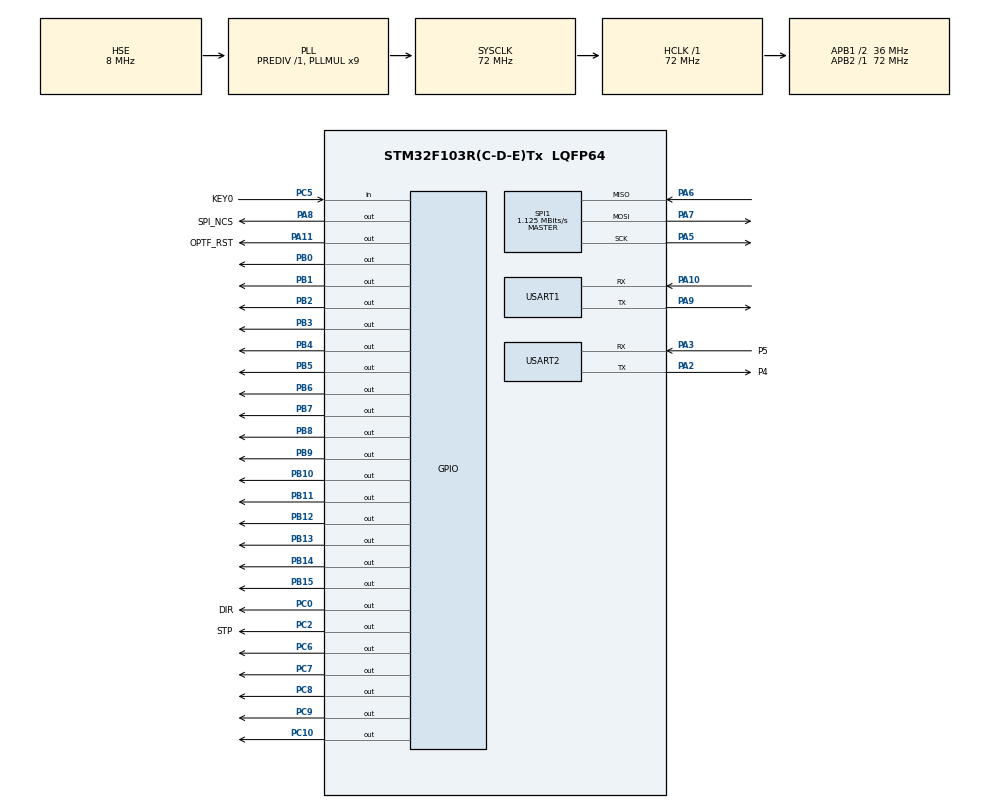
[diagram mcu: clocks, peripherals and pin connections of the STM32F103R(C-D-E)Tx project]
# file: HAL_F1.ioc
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Mcu.Family=STM32F1
Mcu.Name=STM32F103R(C-D-E)Tx
Mcu.Package=LQFP64
NVIC.PriorityGroup=NVIC_PRIORITYGROUP_4
NVIC.USART2_IRQn=true\:0\:0\:false\:false\:true\:true\:true
PA10.Mode=Asynchronous
PA10.Signal=USART1_RX
PA11.GPIO_Label=OPTF_RST
PA11.GPIO_PuPd=GPIO_PULLDOWN
PA11.Signal=GPIO_Output
PA2.GPIO_Label=P4
PA2.Mode=Asynchronous
PA2.Signal=USART2_TX
PA3.GPIO_Label=P5
PA3.Mode=Asynchronous
PA3.Signal=USART2_RX
PA5.Mode=Full_Duplex_Master
PA5.Signal=SPI1_SCK
PA6.Mode=Full_Duplex_Master
PA6.Signal=SPI1_MISO
PA7.Mode=Full_Duplex_Master
PA7.Signal=SPI1_MOSI
PA8.GPIO_Label=SPI_NCS
PA8.GPIO_PuPd=GPIO_PULLUP
PA8.PinState=GPIO_PIN_SET
PA8.Signal=GPIO_Output
PA9.Mode=Asynchronous
PA9.Signal=USART1_TX
PB0.GPIO_PuPd=GPIO_PULLUP
PB0.GPIO_Speed=GPIO_SPEED_FREQ_HIGH
PB0.Signal=GPIO_Output
PB1.GPIO_ModeDefaultOutputPP=GPIO_MODE_OUTPUT_PP
PB1.GPIO_PuPd=GPIO_PULLUP
PB1.GPIO_Speed=GPIO_SPEED_FREQ_HIGH
PB1.Signal=GPIO_Output
PB10.GPIO_PuPd=GPIO_PULLUP
PB10.GPIO_Speed=GPIO_SPEED_FREQ_HIGH
PB10.Signal=GPIO_Output
PB11.GPIO_PuPd=GPIO_PULLUP
PB11.GPIO_Speed=GPIO_SPEED_FREQ_HIGH
PB11.Signal=GPIO_Output
PB12.GPIO_PuPd=GPIO_PULLUP
PB12.GPIO_Speed=GPIO_SPEED_FREQ_HIGH
PB12.Signal=GPIO_Output
PB13.GPIO_PuPd=GPIO_PULLUP
PB13.GPIO_Speed=GPIO_SPEED_FREQ_HIGH
PB13.Signal=GPIO_Output
PB14.GPIO_PuPd=GPIO_PULLUP
PB14.GPIO_Speed=GPIO_SPEED_FREQ_HIGH
PB14.Signal=GPIO_Output
PB15.GPIO_PuPd=GPIO_PULLUP
PB15.GPIO_Speed=GPIO_SPEED_FREQ_HIGH
PB15.Signal=GPIO_Output
PB2.GPIO_PuPd=GPIO_PULLUP
PB2.GPIO_Speed=GPIO_SPEED_FREQ_HIGH
PB2.Signal=GPIO_Output
PB3.GPIO_PuPd=GPIO_PULLUP
PB3.GPIO_Speed=GPIO_SPEED_FREQ_HIGH
PB3.Signal=GPIO_Output
PB4.GPIO_PuPd=GPIO_PULLUP
PB4.GPIO_Speed=GPIO_SPEED_FREQ_HIGH
PB4.Signal=GPIO_Output
PB5.GPIO_PuPd=GPIO_PULLUP
PB5.GPIO_Speed=GPIO_SPEED_FREQ_HIGH
PB5.Signal=GPIO_Output
PB6.GPIO_PuPd=GPIO_PULLUP
PB6.GPIO_Speed=GPIO_SPEED_FREQ_HIGH
PB6.Signal=GPIO_Output
PB7.GPIO_PuPd=GPIO_PULLUP
PB7.GPIO_Speed=GPIO_SPEED_FREQ_HIGH
PB7.Signal=GPIO_Output
PB8.GPIO_PuPd=GPIO_PULLUP
PB8.GPIO_Speed=GPIO_SPEED_FREQ_HIGH
PB8.Signal=GPIO_Output
PB9.GPIO_PuPd=GPIO_PULLUP
PB9.GPIO_Speed=GPIO_SPEED_FREQ_HIGH
PB9.Signal=GPIO_Output
PC0.GPIO_Label=DIR
PC0.GPIO_PuPd=GPIO_PULLDOWN
PC0.GPIO_Speed=GPIO_SPEED_FREQ_HIGH
PC0.Signal=GPIO_Output
PC10.GPIO_PuPd=GPIO_PULLUP
PC10.GPIO_Speed=GPIO_SPEED_FREQ_HIGH
PC10.Signal=GPIO_Output
PC2.GPIO_Label=STP
PC2.GPIO_PuPd=GPIO_PULLDOWN
PC2.GPIO_Speed=GPIO_SPEED_FREQ_HIGH
PC2.Signal=GPIO_Output
PC5.GPIO_Label=KEY0
PC5.GPIO_PuPd=GPIO_PULLUP
PC5.Signal=GPIO_Input
PC6.GPIO_PuPd=GPIO_PULLUP
PC6.GPIO_Speed=GPIO_SPEED_FREQ_HIGH
PC6.Signal=GPIO_Output
PC7.GPIO_PuPd=GPIO_PULLUP
PC7.GPIO_Speed=GPIO_SPEED_FREQ_HIGH
PC7.Signal=GPIO_Output
PC8.GPIO_PuPd=GPIO_PULLUP
PC8.GPIO_Speed=GPIO_SPEED_FREQ_HIGH
PC8.Signal=GPIO_Output
PC9.GPIO_PuPd=GPIO_PULLUP
PC9.GPIO_Speed=GPIO_SPEED_FREQ_HIGH
PC9.Signal=GPIO_Output
PD0-OSC_IN.Mode=HSE-External-Oscillator
PD0-OSC_IN.Signal=RCC_OSC_IN
PD1-OSC_OUT.Mode=HSE-External-Oscillator
PD1-OSC_OUT.Signal=RCC_OSC_OUT
ProjectManager.HeapSize=0x200
ProjectManager.StackSize=0x400
ProjectManager.TargetToolchain=MDK-ARM V5.27
RCC.AHBFreq_Value=72000000
RCC.APB1CLKDivider=RCC_HCLK_DIV2
RCC.APB1Freq_Value=36000000
RCC.APB1TimFreq_Value=72000000
RCC.APB2Freq_Value=72000000
RCC.APB2TimFreq_Value=72000000
RCC.HCLKFreq_Value=72000000
RCC.PLLMUL=RCC_PLL_MUL9
RCC.PLLSourceVirtual=RCC_PLLSOURCE_HSE
RCC.SYSCLKFreq_VALUE=72000000
RCC.SYSCLKSource=RCC_SYSCLKSOURCE_PLLCLK
RCC.USBFreq_Value=72000000
SPI1.BaudRatePrescaler=SPI_BAUDRATEPRESCALER_64
SPI1.CLKPhase=SPI_PHASE_2EDGE
SPI1.CLKPolarity=SPI_POLARITY_HIGH
SPI1.CalculateBaudRate=1.125 MBits/s
SPI1.Direction=SPI_DIRECTION_2LINES
SPI1.Mode=SPI_MODE_MASTER
SPI1.VirtualType=VM_MASTER
TIM3.AutoReloadPreload=TIM_AUTORELOAD_PRELOAD_ENABLE
TIM3.Channel-Output\ Compare1\ No\ Output=TIM_CHANNEL_1
TIM3.Period=1
TIM3.Prescaler=71
USART1.VirtualMode=VM_ASYNC
USART2.VirtualMode=VM_ASYNC
VP_SYS_VS_ND.Mode=No_Debug
VP_TIM3_VS_ClockSourceINT.Mode=Internal
VP_TIM3_VS_no_output1.Mode=Output Compare1 No Output
board=custom

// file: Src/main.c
/* USER CODE BEGIN Header */
/**
  ******************************************************************************
  * @file           : main.c
  * @brief          : Main program body
  ******************************************************************************
  * @attention
  *
  * <h2><center>&copy; Copyright (c) 2020 STMicroelectronics.
  * All rights reserved.</center></h2>
  *
  * This software component is licensed by ST under BSD 3-Clause license,
  * the "License"; You may not use this file except in compliance with the
  * License. You may obtain a copy of the License at:
  *                        opensource.org/licenses/BSD-3-Clause
  *
  ******************************************************************************
  */
/* USER CODE END Header */

#include "main.h"

/* USER CODE BEGIN Includes */
#include "stm32f1xx_hal.h"
#include "stdlib.h"
#include "pid.h"
#include "delay.h"
#include "stepper.h"
#include "comm.h"
#include "opticalFlow.h"
#include "lcd.h"
/* USER CODE END Includes */

SPI_HandleTypeDef hspi1;

TIM_HandleTypeDef htim3;

UART_HandleTypeDef huart1;
UART_HandleTypeDef huart2;

void SystemClock_Config(void);
static void MX_GPIO_Init(void);
static void MX_USART2_UART_Init(void);
static void MX_TIM3_Init(void);
static void MX_USART1_UART_Init(void);
static void MX_SPI1_Init(void);

/* USER CODE BEGIN 0 */

	uint8_t IRQBuffer;			//接收中断缓冲
	ProtocolData *RxData;		//中断数据解析
	PID_Typedef *PID_Front;		//前步进电机的PID控制
	Stepper *StepperFront;
	uint8_t FrameCap[900];
/* USER CODE END 0 */

int main(void)
{

  /* MCU Configuration--------------------------------------------------------*/

  /* Reset of all peripherals, Initializes the Flash interface and the Systick. */
  HAL_Init();

  /* USER CODE BEGIN Init */
	StepperFront = StepperInit(GPIOC,GPIO_PIN_2,GPIOC,GPIO_PIN_0);
	RxData = (ProtocolData *)malloc(sizeof(ProtocolData));
	PID_Front = PID_Init(
					POSITION,		//mode
					0,			//target
					0.2,		//kp
					0.008,			//ki
					0.02,			//kd
					3			//deadband
					);
  /* USER CODE END Init */

  /* Configure the system clock */
  SystemClock_Config();

  /* Initialize all configured peripherals */
  MX_GPIO_Init();
  MX_USART2_UART_Init();
  MX_TIM3_Init();
  MX_USART1_UART_Init();
  MX_SPI1_Init();
  /* USER CODE BEGIN 2 */
	HAL_UART_Receive_IT(&huart2, (uint8_t *)&IRQBuffer, 1);
	OpticalFlowInit();
	BurstData *ReadData = (BurstData *)malloc(sizeof(BurstData));
	LCD_Init();
	double dx_acu=0.0,dy_acu=0.0;
	//double kx = 1.0, ky = 1.0;
	int x=0,y=0;
	char output[100];
	int mode = 1;
	HAL_Delay(2000);
  /* USER CODE END 2 */

  /* Infinite loop */
  /* USER CODE BEGIN WHILE */
  while (1)
  {
	  HAL_Delay(10);/*
	  if(HAL_GPIO_ReadPin(GPIOC,GPIO_PIN_5)==0)
	  {
		  mode = -mode;
		  LCD_Clear(0XFFFF);
	  }
	  */
	  if(mode == 1)
	  {
	  GetOneFrame(FrameCap);
	  //LCD_Clear(0XFFFF);
	  for(int i=0;i<30;++i)
	  {
		  for(int j=0;j<30;++j)
		  {
			  uint16_t color = FrameCap[30*i+j]>>1;
			  uint16_t pixel = color<<11|color<<6|color;
			  LCD_Fill(60+4*j,100+4*i,64+4*j,104+4*i,pixel);
		  }
	  }
	  HAL_Delay(30);
	}
	else
	{
	  //LCD_ShowString(30,40,200,24,24,"Mini STM32 ^_^");
	  BurstRead(ReadData);
	  if((ReadData->_Motion)>>7 == 1)
	  {
		  dx_acu += ((int8_t)ReadData->_DeltaX)*0.0548869;
		  dy_acu += ((int8_t)ReadData->_DeltaY)*0.0548869;
		  x+=(int8_t)ReadData->_DeltaX;
		  y+=(int8_t)ReadData->_DeltaY;
		  sprintf(output,"delta_x = %6d delta_y = %6d\n",x,y);
		  LCD_ShowString(20,40,200,72,24,output);
		  //LCD_ShowNum(40,40,x,5,24);
		  //LCD_ShowNum(40,80,y,5,24);
	  }
  }

    /* USER CODE END WHILE */

  }
}

void SystemClock_Config(void)
{
  RCC_OscInitTypeDef RCC_OscInitStruct = {0};
  RCC_ClkInitTypeDef RCC_ClkInitStruct = {0};

  /** Initializes the CPU, AHB and APB busses clocks
  */
  RCC_OscInitStruct.OscillatorType = RCC_OSCILLATORTYPE_HSE;
  RCC_OscInitStruct.HSEState = RCC_HSE_ON;
  RCC_OscInitStruct.HSEPredivValue = RCC_HSE_PREDIV_DIV1;
  RCC_OscInitStruct.HSIState = RCC_HSI_ON;
  RCC_OscInitStruct.PLL.PLLState = RCC_PLL_ON;
  RCC_OscInitStruct.PLL.PLLSource = RCC_PLLSOURCE_HSE;
  RCC_OscInitStruct.PLL.PLLMUL = RCC_PLL_MUL9;
  if (HAL_RCC_OscConfig(&RCC_OscInitStruct) != HAL_OK)
  {
    Error_Handler();
  }
  /** Initializes the CPU, AHB and APB busses clocks
  */
  RCC_ClkInitStruct.ClockType = RCC_CLOCKTYPE_HCLK|RCC_CLOCKTYPE_SYSCLK
                              |RCC_CLOCKTYPE_PCLK1|RCC_CLOCKTYPE_PCLK2;
  RCC_ClkInitStruct.SYSCLKSource = RCC_SYSCLKSOURCE_PLLCLK;
  RCC_ClkInitStruct.AHBCLKDivider = RCC_SYSCLK_DIV1;
  RCC_ClkInitStruct.APB1CLKDivider = RCC_HCLK_DIV2;
  RCC_ClkInitStruct.APB2CLKDivider = RCC_HCLK_DIV1;

  if (HAL_RCC_ClockConfig(&RCC_ClkInitStruct, FLASH_LATENCY_2) != HAL_OK)
  {
    Error_Handler();
  }
}

static void MX_SPI1_Init(void)
{

  /* SPI1 parameter configuration*/
  hspi1.Instance = SPI1;
  hspi1.Init.Mode = SPI_MODE_MASTER;
  hspi1.Init.Direction = SPI_DIRECTION_2LINES;
  hspi1.Init.DataSize = SPI_DATASIZE_8BIT;
  hspi1.Init.CLKPolarity = SPI_POLARITY_HIGH;
  hspi1.Init.CLKPhase = SPI_PHASE_2EDGE;
  hspi1.Init.NSS = SPI_NSS_SOFT;
  hspi1.Init.BaudRatePrescaler = SPI_BAUDRATEPRESCALER_64;
  hspi1.Init.FirstBit = SPI_FIRSTBIT_MSB;
  hspi1.Init.TIMode = SPI_TIMODE_DISABLE;
  hspi1.Init.CRCCalculation = SPI_CRCCALCULATION_DISABLE;
  hspi1.Init.CRCPolynomial = 10;
  if (HAL_SPI_Init(&hspi1) != HAL_OK)
  {
    Error_Handler();
  }

}

static void MX_TIM3_Init(void)
{

  TIM_ClockConfigTypeDef sClockSourceConfig = {0};
  TIM_MasterConfigTypeDef sMasterConfig = {0};
  TIM_OC_InitTypeDef sConfigOC = {0};

  htim3.Instance = TIM3;
  htim3.Init.Prescaler = 71;
  htim3.Init.CounterMode = TIM_COUNTERMODE_UP;
  htim3.Init.Period = 1;
  htim3.Init.ClockDivision = TIM_CLOCKDIVISION_DIV1;
  htim3.Init.AutoReloadPreload = TIM_AUTORELOAD_PRELOAD_ENABLE;
  if (HAL_TIM_Base_Init(&htim3) != HAL_OK)
  {
    Error_Handler();
  }
  sClockSourceConfig.ClockSource = TIM_CLOCKSOURCE_INTERNAL;
  if (HAL_TIM_ConfigClockSource(&htim3, &sClockSourceConfig) != HAL_OK)
  {
    Error_Handler();
  }
  if (HAL_TIM_OC_Init(&htim3) != HAL_OK)
  {
    Error_Handler();
  }
  sMasterConfig.MasterOutputTrigger = TIM_TRGO_RESET;
  sMasterConfig.MasterSlaveMode = TIM_MASTERSLAVEMODE_DISABLE;
  if (HAL_TIMEx_MasterConfigSynchronization(&htim3, &sMasterConfig) != HAL_OK)
  {
    Error_Handler();
  }
  sConfigOC.OCMode = TIM_OCMODE_TIMING;
  sConfigOC.Pulse = 0;
  sConfigOC.OCPolarity = TIM_OCPOLARITY_HIGH;
  sConfigOC.OCFastMode = TIM_OCFAST_DISABLE;
  if (HAL_TIM_OC_ConfigChannel(&htim3, &sConfigOC, TIM_CHANNEL_1) != HAL_OK)
  {
    Error_Handler();
  }

}

static void MX_USART1_UART_Init(void)
{

  huart1.Instance = USART1;
  huart1.Init.BaudRate = 115200;
  huart1.Init.WordLength = UART_WORDLENGTH_8B;
  huart1.Init.StopBits = UART_STOPBITS_1;
  huart1.Init.Parity = UART_PARITY_NONE;
  huart1.Init.Mode = UART_MODE_TX_RX;
  huart1.Init.HwFlowCtl = UART_HWCONTROL_NONE;
  huart1.Init.OverSampling = UART_OVERSAMPLING_16;
  if (HAL_UART_Init(&huart1) != HAL_OK)
  {
    Error_Handler();
  }

}

static void MX_USART2_UART_Init(void)
{

  huart2.Instance = USART2;
  huart2.Init.BaudRate = 115200;
  huart2.Init.WordLength = UART_WORDLENGTH_8B;
  huart2.Init.StopBits = UART_STOPBITS_1;
  huart2.Init.Parity = UART_PARITY_NONE;
  huart2.Init.Mode = UART_MODE_TX_RX;
  huart2.Init.HwFlowCtl = UART_HWCONTROL_NONE;
  huart2.Init.OverSampling = UART_OVERSAMPLING_16;
  if (HAL_UART_Init(&huart2) != HAL_OK)
  {
    Error_Handler();
  }

}

static void MX_GPIO_Init(void)
{
  GPIO_InitTypeDef GPIO_InitStruct = {0};

  /* GPIO Ports Clock Enable */
  __HAL_RCC_GPIOD_CLK_ENABLE();
  __HAL_RCC_GPIOC_CLK_ENABLE();
  __HAL_RCC_GPIOA_CLK_ENABLE();
  __HAL_RCC_GPIOB_CLK_ENABLE();

  /*Configure GPIO pin Output Level */
  HAL_GPIO_WritePin(GPIOC, DIR_Pin|STP_Pin|GPIO_PIN_6|GPIO_PIN_7
                          |GPIO_PIN_8|GPIO_PIN_9|GPIO_PIN_10, GPIO_PIN_RESET);

  /*Configure GPIO pin Output Level */
  HAL_GPIO_WritePin(GPIOB, GPIO_PIN_0|GPIO_PIN_1|GPIO_PIN_2|GPIO_PIN_10
                          |GPIO_PIN_11|GPIO_PIN_12|GPIO_PIN_13|GPIO_PIN_14
                          |GPIO_PIN_15|GPIO_PIN_3|GPIO_PIN_4|GPIO_PIN_5
                          |GPIO_PIN_6|GPIO_PIN_7|GPIO_PIN_8|GPIO_PIN_9, GPIO_PIN_RESET);

  /*Configure GPIO pin Output Level */
  HAL_GPIO_WritePin(SPI_NCS_GPIO_Port, SPI_NCS_Pin, GPIO_PIN_SET);

  /*Configure GPIO pin Output Level */
  HAL_GPIO_WritePin(OPTF_RST_GPIO_Port, OPTF_RST_Pin, GPIO_PIN_RESET);

  /*Configure GPIO pins : DIR_Pin STP_Pin */
  GPIO_InitStruct.Pin = DIR_Pin|STP_Pin;
  GPIO_InitStruct.Mode = GPIO_MODE_OUTPUT_PP;
  GPIO_InitStruct.Pull = GPIO_PULLDOWN;
  GPIO_InitStruct.Speed = GPIO_SPEED_FREQ_HIGH;
  HAL_GPIO_Init(GPIOC, &GPIO_InitStruct);

  /*Configure GPIO pin : KEY0_Pin */
  GPIO_InitStruct.Pin = KEY0_Pin;
  GPIO_InitStruct.Mode = GPIO_MODE_INPUT;
  GPIO_InitStruct.Pull = GPIO_PULLDOWN;
  HAL_GPIO_Init(KEY0_GPIO_Port, &GPIO_InitStruct);

  /*Configure GPIO pins : PB0 PB1 PB2 PB10
                           PB11 PB12 PB13 PB14
                           PB15 PB3 PB4 PB5
                           PB6 PB7 PB8 PB9 */
  GPIO_InitStruct.Pin = GPIO_PIN_0|GPIO_PIN_1|GPIO_PIN_2|GPIO_PIN_10
                          |GPIO_PIN_11|GPIO_PIN_12|GPIO_PIN_13|GPIO_PIN_14
                          |GPIO_PIN_15|GPIO_PIN_3|GPIO_PIN_4|GPIO_PIN_5
                          |GPIO_PIN_6|GPIO_PIN_7|GPIO_PIN_8|GPIO_PIN_9;
  GPIO_InitStruct.Mode = GPIO_MODE_OUTPUT_PP;
  GPIO_InitStruct.Pull = GPIO_PULLUP;
  GPIO_InitStruct.Speed = GPIO_SPEED_FREQ_HIGH;
  HAL_GPIO_Init(GPIOB, &GPIO_InitStruct);

  /*Configure GPIO pins : PC6 PC7 PC8 PC9
                           PC10 */
  GPIO_InitStruct.Pin = GPIO_PIN_6|GPIO_PIN_7|GPIO_PIN_8|GPIO_PIN_9
                          |GPIO_PIN_10;
  GPIO_InitStruct.Mode = GPIO_MODE_OUTPUT_PP;
  GPIO_InitStruct.Pull = GPIO_PULLUP;
  GPIO_InitStruct.Speed = GPIO_SPEED_FREQ_HIGH;
  HAL_GPIO_Init(GPIOC, &GPIO_InitStruct);

  /*Configure GPIO pin : SPI_NCS_Pin */
  GPIO_InitStruct.Pin = SPI_NCS_Pin;
  GPIO_InitStruct.Mode = GPIO_MODE_OUTPUT_PP;
  GPIO_InitStruct.Pull = GPIO_PULLUP;
  GPIO_InitStruct.Speed = GPIO_SPEED_FREQ_LOW;
  HAL_GPIO_Init(SPI_NCS_GPIO_Port, &GPIO_InitStruct);

  /*Configure GPIO pin : OPTF_RST_Pin */
  GPIO_InitStruct.Pin = OPTF_RST_Pin;
  GPIO_InitStruct.Mode = GPIO_MODE_OUTPUT_PP;
  GPIO_InitStruct.Pull = GPIO_PULLDOWN;
  GPIO_InitStruct.Speed = GPIO_SPEED_FREQ_LOW;
  HAL_GPIO_Init(OPTF_RST_GPIO_Port, &GPIO_InitStruct);

}

void Error_Handler(void)
{
}

/************************ (C) COPYRIGHT STMicroelectronics *****END OF FILE****/
